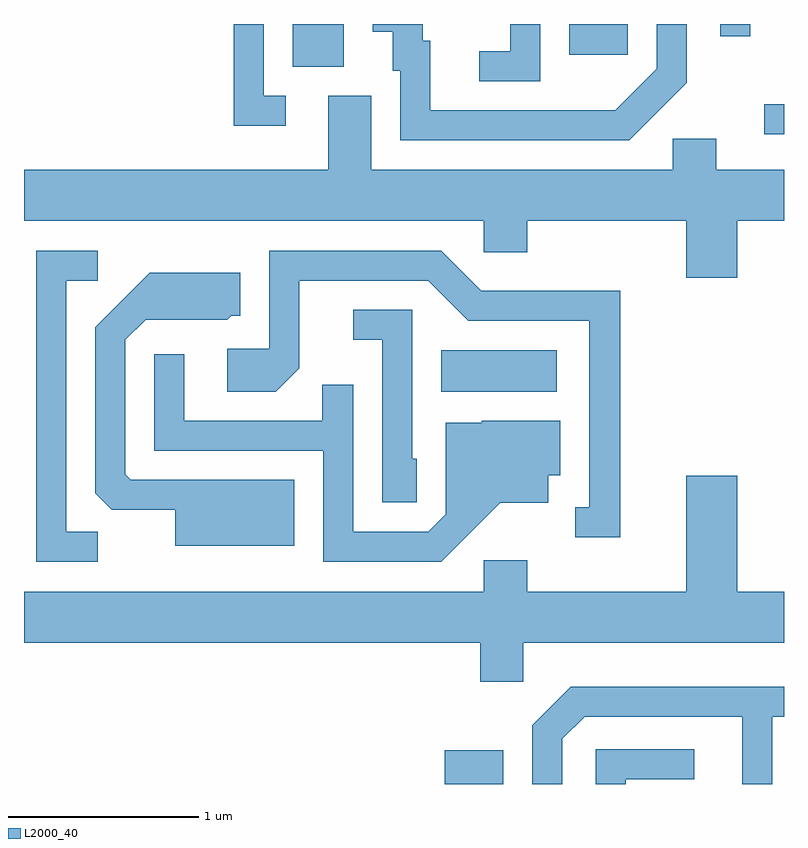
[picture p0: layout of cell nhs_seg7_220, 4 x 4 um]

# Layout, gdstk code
import gdstk
lib = gdstk.Library(unit=1e-6, precision=1e-09)
def R(c, l, rs):  # rectangles x0, y0, x1, y1
    for r in rs: c.add(gdstk.rectangle(r[:2], r[2:], *l))
def P(c, l, *ps):  # polygons
    for p in ps: c.add(gdstk.Polygon(p, *l))
L2000_40 = (2000, 40)

nhs_seg7_220 = lib.new_cell('nhs_seg7_220')
R(nhs_seg7_220, L2000_40, [(193.826,1700.252,194.134,1700.429), (193.806,1702.316,194.414,1702.534), (195.508,1703.671,195.611,1703.829), (193.026,1704.026,193.294,1704.252), (194.481,1704.091,194.789,1704.252), (195.276,1704.188,195.434,1704.252)])
P(nhs_seg7_220, L2000_40, [(194.329,1704.252),(194.171,1704.252),(194.171,1704.109),(194.008,1704.109),(194.008,1703.951),(194.329,1703.951)],
  [(195.099,1703.944),(195.099,1704.252),(194.941,1704.252),(194.941,1704.017),(194.724,1703.799),(193.749,1703.799),(193.749,1704.164),(193.709,1704.164),(193.709,1704.252),(193.446,1704.252),(193.446,1704.211),(193.551,1704.211),(193.551,1704.006),(193.591,1704.006),(193.591,1703.641),(194.797,1703.641)],
  [(192.988,1703.874),(192.874,1703.874),(192.874,1704.252),(192.716,1704.252),(192.716,1703.716),(192.988,1703.716)],
  [(195.364,1703.216),(195.611,1703.216),(195.611,1703.484),(195.254,1703.484),(195.254,1703.649),(195.026,1703.649),(195.026,1703.484),(193.439,1703.484),(193.439,1703.874),(193.211,1703.874),(193.211,1703.484),(191.611,1703.484),(191.611,1703.216),(194.031,1703.216),(194.031,1703.051),(194.259,1703.051),(194.259,1703.216),(195.096,1703.216),(195.096,1702.916),(195.364,1702.916)],
  [(191.998,1701.579),(191.834,1701.579),(191.834,1702.901),(191.998,1702.901),(191.998,1703.059),(191.676,1703.059),(191.676,1701.421),(191.998,1701.421)],
  [(194.749,1702.849),(194.017,1702.849),(193.807,1703.059),(192.901,1703.059),(192.901,1702.544),(192.681,1702.544),(192.681,1702.316),(192.937,1702.316),(193.059,1702.439),(193.059,1702.901),(193.739,1702.901),(193.949,1702.691),(194.586,1702.691),(194.586,1701.709),(194.513,1701.709),(194.513,1701.551),(194.749,1701.551)],
  [(193.034,1701.854),(192.172,1701.854),(192.144,1701.882),(192.144,1702.589),(192.252,1702.696),(192.682,1702.696),(192.702,1702.716),(192.749,1702.716),(192.749,1702.944),(192.274,1702.944),(191.986,1702.657),(191.986,1701.782),(192.072,1701.696),(192.406,1701.696),(192.406,1701.506),(193.034,1701.506)],
  [(193.679,1701.964),(193.654,1701.964),(193.654,1702.749),(193.343,1702.749),(193.343,1702.591),(193.496,1702.591),(193.496,1701.736),(193.679,1701.736)],
  [(194.117,1701.731),(194.369,1701.731),(194.369,1701.876),(194.434,1701.876),(194.434,1702.164),(194.02,1702.164),(194.02,1702.154),(193.831,1702.154),(193.831,1701.672),(193.739,1701.579),(193.344,1701.579),(193.344,1702.353),(193.181,1702.353),(193.181,1702.164),(192.454,1702.164),(192.454,1702.513),(192.296,1702.513),(192.296,1702.006),(193.186,1702.006),(193.186,1701.421),(193.807,1701.421)],
  [(194.239,1700.996),(195.611,1700.996),(195.611,1701.264),(195.364,1701.264),(195.364,1701.874),(195.096,1701.874),(195.096,1701.264),(194.259,1701.264),(194.259,1701.429),(194.031,1701.429),(194.031,1701.264),(191.611,1701.264),(191.611,1700.996),(194.011,1700.996),(194.011,1700.791),(194.239,1700.791)],
  [(194.444,1700.489),(194.562,1700.606),(195.391,1700.606),(195.391,1700.252),(195.549,1700.252),(195.549,1700.606),(195.611,1700.606),(195.611,1700.764),(194.489,1700.764),(194.286,1700.562),(194.286,1700.252),(194.444,1700.252)],
  [(194.779,1700.276),(195.138,1700.276),(195.138,1700.434),(194.621,1700.434),(194.621,1700.252),(194.779,1700.252)])

lib.write_gds('nhs_seg7_220.gds')
